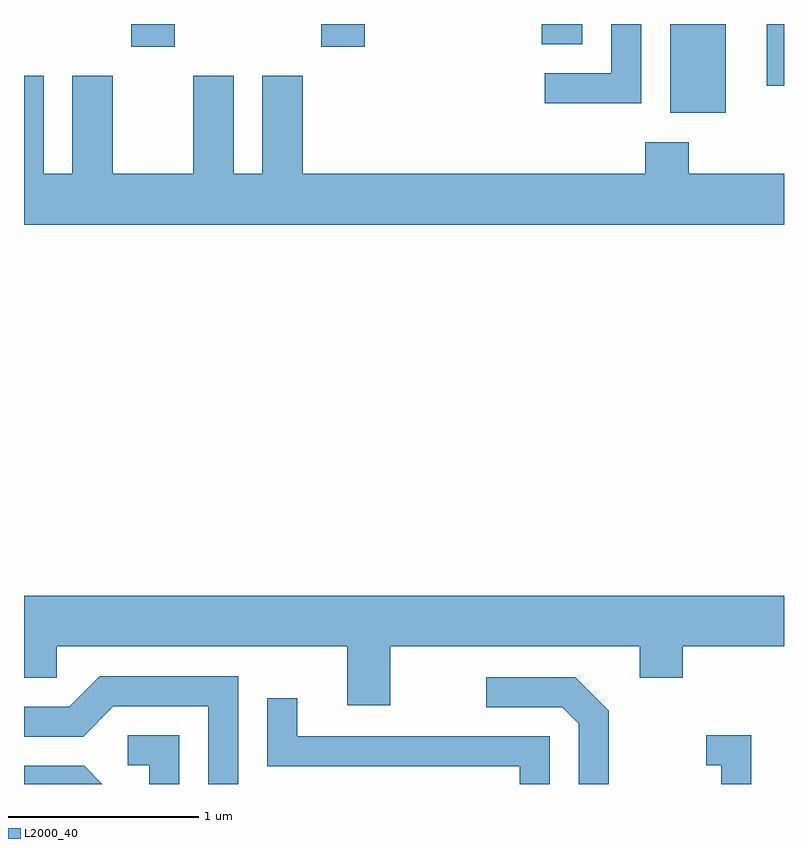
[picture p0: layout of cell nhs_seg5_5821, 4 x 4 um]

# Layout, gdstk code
import gdstk
lib = gdstk.Library(unit=1e-6, precision=1e-09)
def R(c, l, rs):  # rectangles x0, y0, x1, y1
    for r in rs: c.add(gdstk.rectangle(r[:2], r[2:], *l))
def P(c, l, *ps):  # polygons
    for p in ps: c.add(gdstk.Polygon(p, *l))
L2000_40 = (2000, 40)

nhs_seg5_5821 = lib.new_cell('nhs_seg5_5821')
R(nhs_seg5_5821, L2000_40, [(361.011,1459.606,361.304,1460.072), (361.521,1459.748,361.611,1460.072), (358.176,1459.951,358.404,1460.072), (359.176,1459.951,359.404,1460.072), (360.336,1459.966,360.549,1460.072)])
P(nhs_seg5_5821, L2000_40, [(360.859,1460.072),(360.701,1460.072),(360.701,1459.814),(360.353,1459.814),(360.353,1459.656),(360.859,1459.656)],
  [(361.611,1459.284),(361.109,1459.284),(361.109,1459.449),(360.881,1459.449),(360.881,1459.284),(359.079,1459.284),(359.079,1459.799),(358.866,1459.799),(358.866,1459.284),(358.714,1459.284),(358.714,1459.799),(358.501,1459.799),(358.501,1459.284),(358.079,1459.284),(358.079,1459.799),(357.866,1459.799),(357.866,1459.284),(357.714,1459.284),(357.714,1459.799),(357.611,1459.799),(357.611,1459.016),(361.611,1459.016)],
  [(359.539,1456.796),(360.851,1456.796),(360.851,1456.631),(361.079,1456.631),(361.079,1456.796),(361.611,1456.796),(361.611,1457.064),(357.611,1457.064),(357.611,1456.631),(357.784,1456.631),(357.784,1456.796),(359.311,1456.796),(359.311,1456.486),(359.539,1456.486)],
  [(358.739,1456.639),(358.009,1456.639),(357.849,1456.479),(357.611,1456.479),(357.611,1456.321),(357.922,1456.321),(358.082,1456.481),(358.581,1456.481),(358.581,1456.072),(358.739,1456.072)],
  [(360.689,1456.457),(360.512,1456.634),(360.043,1456.634),(360.043,1456.476),(360.444,1456.476),(360.531,1456.389),(360.531,1456.072),(360.689,1456.072)],
  [(360.379,1456.324),(359.049,1456.324),(359.049,1456.523),(358.891,1456.523),(358.891,1456.166),(360.221,1456.166),(360.221,1456.072),(360.379,1456.072)],
  [(361.439,1456.329),(361.203,1456.329),(361.203,1456.171),(361.281,1456.171),(361.281,1456.072),(361.439,1456.072)],
  [(358.429,1456.329),(358.158,1456.329),(358.158,1456.171),(358.271,1456.171),(358.271,1456.072),(358.429,1456.072)],
  [(357.927,1456.169),(357.611,1456.169),(357.611,1456.072),(358.024,1456.072)])

lib.write_gds('nhs_seg5_5821.gds')
